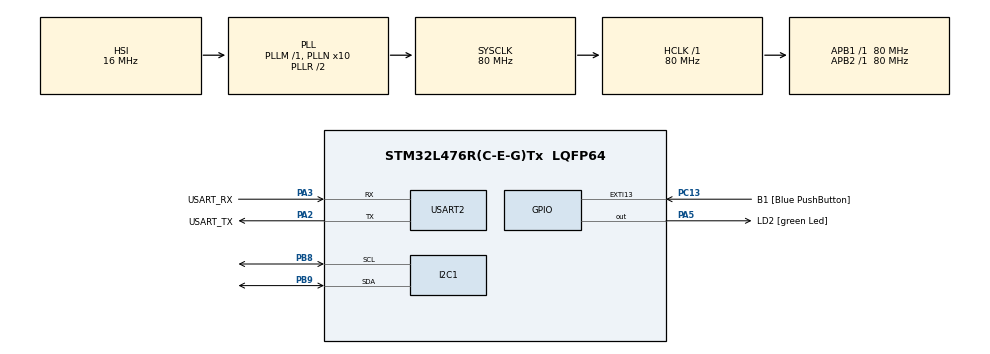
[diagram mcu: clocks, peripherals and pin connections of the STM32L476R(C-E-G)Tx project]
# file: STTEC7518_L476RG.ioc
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I2C1.Timing=0x10909CEC
Mcu.Family=STM32L4
Mcu.Name=STM32L476R(C-E-G)Tx
Mcu.Package=LQFP64
NVIC.PriorityGroup=NVIC_PRIORITYGROUP_4
PA13\ (JTMS-SWDIO).GPIO_Label=TMS
PA13\ (JTMS-SWDIO).Mode=Serial_Wire
PA13\ (JTMS-SWDIO).Signal=SYS_JTMS-SWDIO
PA14\ (JTCK-SWCLK).GPIO_Label=TCK
PA14\ (JTCK-SWCLK).Mode=Serial_Wire
PA14\ (JTCK-SWCLK).Signal=SYS_JTCK-SWCLK
PA2.GPIO_Label=USART_TX
PA2.GPIO_Mode=GPIO_MODE_AF_PP
PA2.GPIO_PuPd=GPIO_NOPULL
PA2.GPIO_Speed=GPIO_SPEED_FREQ_VERY_HIGH
PA2.Mode=Asynchronous
PA2.Signal=USART2_TX
PA3.GPIO_Label=USART_RX
PA3.GPIO_Mode=GPIO_MODE_AF_PP
PA3.GPIO_PuPd=GPIO_NOPULL
PA3.GPIO_Speed=GPIO_SPEED_FREQ_VERY_HIGH
PA3.Mode=Asynchronous
PA3.Signal=USART2_RX
PA5.GPIO_Label=LD2 [green Led]
PA5.GPIO_ModeDefaultOutputPP=GPIO_MODE_OUTPUT_PP
PA5.GPIO_PuPd=GPIO_NOPULL
PA5.GPIO_Speed=GPIO_SPEED_FREQ_LOW
PA5.Signal=GPIO_Output
PB3\ (JTDO-TRACESWO).GPIO_Label=SWO
PB3\ (JTDO-TRACESWO).Signal=SYS_JTDO-SWO
PB8.Mode=I2C
PB8.Signal=I2C1_SCL
PB9.Mode=I2C
PB9.Signal=I2C1_SDA
PC13.GPIO_Label=B1 [Blue PushButton]
PC13.GPIO_ModeDefaultEXTI=GPIO_MODE_IT_FALLING
PC13.GPIO_PuPd=GPIO_NOPULL
PC13.Signal=GPXTI13
PC14-OSC32_IN\ (PC14).Mode=LSE-External-Oscillator
PC14-OSC32_IN\ (PC14).Signal=RCC_OSC32_IN
PC15-OSC32_OUT\ (PC15).Mode=LSE-External-Oscillator
PC15-OSC32_OUT\ (PC15).Signal=RCC_OSC32_OUT
PH0-OSC_IN\ (PH0).Signal=RCC_OSC_IN
PH1-OSC_OUT\ (PH1).Signal=RCC_OSC_OUT
ProjectManager.HeapSize=0x200
ProjectManager.StackSize=0x400
ProjectManager.TargetToolchain=STM32CubeIDE
RCC.ADCFreq_Value=64000000
RCC.AHBFreq_Value=80000000
RCC.APB1Freq_Value=80000000
RCC.APB1TimFreq_Value=80000000
RCC.APB2Freq_Value=80000000
RCC.APB2TimFreq_Value=80000000
RCC.CortexFreq_Value=80000000
RCC.HCLKFreq_Value=80000000
RCC.HSE_VALUE=8000000
RCC.HSI_VALUE=16000000
RCC.MSI_VALUE=4000000
RCC.PLLN=10
RCC.PLLSourceVirtual=RCC_PLLSOURCE_HSI
RCC.PREFETCH_ENABLE=1
RCC.SYSCLKFreq_VALUE=80000000
RCC.SYSCLKSource=RCC_SYSCLKSOURCE_PLLCLK
RCC.USBFreq_Value=64000000
RCC.VCOOutputFreq_Value=160000000
USART2.VirtualMode-Asynchronous=VM_ASYNC
board=NUCLEO-L476RG

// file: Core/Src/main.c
/* USER CODE BEGIN Header */
/**
  ******************************************************************************
  * @file           : main.c
  * @brief          : Main program body
  ******************************************************************************
  * @attention
  *
  * Copyright (c) 2024 STMicroelectronics.
  * All rights reserved.
  *
  * This software is licensed under terms that can be found in the LICENSE file
  * in the root directory of this software component.
  * If no LICENSE file comes with this software, it is provided AS-IS.
  *
  ******************************************************************************
  */
/* USER CODE END Header */
#include "main.h"
#include "i2c.h"
#include "usart.h"
#include "gpio.h"

/* USER CODE BEGIN Includes */
#include <string.h>
#include <stdio.h>
#include "stts751_reg.h"

/* USER CODE END Includes */

/* USER CODE BEGIN PV */
static int16_t data_raw_temperature;
static float temperature_degC;
static stts751_id_t whoamI;
static uint8_t tx_buffer[1000];
/* USER CODE END PV */

void SystemClock_Config(void);
/* USER CODE BEGIN PFP */
static int32_t platform_write(void *handle, uint8_t reg, const uint8_t *bufp,
                              uint16_t len);
static int32_t platform_read(void *handle, uint8_t reg, uint8_t *bufp,
                             uint16_t len);
#ifdef __GNUC__
#define PUTCHAR_PROTOTYPE int __io_putchar(int ch)
#else
#define PUTCHAR_PROTOTYPE int fputc(int ch, FILE *f)
#endif /* __GNUC__ */

/* USER CODE END PFP */

int main(void)
{
  /* USER CODE BEGIN 1 */
	 /* Initialize mems driver interface */
	  stmdev_ctx_t dev_ctx;
	  dev_ctx.write_reg = platform_write;
	  dev_ctx.read_reg = platform_read;
	  dev_ctx.mdelay = HAL_Delay;
	  dev_ctx.handle = &hi2c1;
	  /* Initialize platform specific hardware */
  /* USER CODE END 1 */

  /* MCU Configuration--------------------------------------------------------*/

  /* Reset of all peripherals, Initializes the Flash interface and the Systick. */
  HAL_Init();

  /* Configure the system clock */
  SystemClock_Config();

  /* Initialize all configured peripherals */
  MX_GPIO_Init();
  MX_I2C1_Init();
  MX_USART2_UART_Init();
  /* USER CODE BEGIN 2 */
  /* Check device ID */
    stts751_device_id_get(&dev_ctx, &whoamI);
         if ( (whoamI.product_id != STTS751_ID_1xxxx) ||
              //(whoamI.product_id != STTS751_ID_1xxxx) ||
              (whoamI.manufacturer_id != STTS751_ID_MAN) ||
              (whoamI.revision_id != STTS751_REV) )
           while (1); /* manage here device not found */

         /* Enable interrupt on high(=49.5 degC)/low(=-4.5 degC) temperature. */
         float temperature_high_limit = 49.5f;
         stts751_high_temperature_threshold_set(&dev_ctx,
                                                stts751_from_celsius_to_lsb(temperature_high_limit));
         float temperature_low_limit = -4.5f;
         stts751_low_temperature_threshold_set(&dev_ctx,
                                               stts751_from_celsius_to_lsb(temperature_low_limit));
         stts751_pin_event_route_set(&dev_ctx,  PROPERTY_ENABLE);
         /* Set Output Data Rate */
         stts751_temp_data_rate_set(&dev_ctx, STTS751_TEMP_ODR_1Hz);
         /* Set Resolution */
         stts751_resolution_set(&dev_ctx, STTS751_11bit);

  /* USER CODE END 2 */

  /* Infinite loop */
  while (1)
  {
	  /* Read samples in polling mode */

	         /* Read output only if not busy */
	         uint8_t flag;
	         stts751_flag_busy_get(&dev_ctx, &flag);

	         if (flag) {
	           /* Read temperature data */
	           memset(&data_raw_temperature, 0, sizeof(int16_t));
	           stts751_temperature_raw_get(&dev_ctx, &data_raw_temperature);
	           temperature_degC = stts751_from_lsb_to_celsius(
	                                data_raw_temperature);
	           sprintf((char *)tx_buffer, "Temperature [degC]:%3.2f\r\n",
	                   temperature_degC);
	           //printf("%s",tx_buffer);
	           HAL_UART_Transmit(&huart2, tx_buffer, strlen((char const *)tx_buffer), 1000);
	         }

  }
}

void SystemClock_Config(void)
{
  RCC_OscInitTypeDef RCC_OscInitStruct = {0};
  RCC_ClkInitTypeDef RCC_ClkInitStruct = {0};

  /** Configure the main internal regulator output voltage
  */
  if (HAL_PWREx_ControlVoltageScaling(PWR_REGULATOR_VOLTAGE_SCALE1) != HAL_OK)
  {
    Error_Handler();
  }

  /** Initializes the RCC Oscillators according to the specified parameters
  * in the RCC_OscInitTypeDef structure.
  */
  RCC_OscInitStruct.OscillatorType = RCC_OSCILLATORTYPE_HSI;
  RCC_OscInitStruct.HSIState = RCC_HSI_ON;
  RCC_OscInitStruct.HSICalibrationValue = RCC_HSICALIBRATION_DEFAULT;
  RCC_OscInitStruct.PLL.PLLState = RCC_PLL_ON;
  RCC_OscInitStruct.PLL.PLLSource = RCC_PLLSOURCE_HSI;
  RCC_OscInitStruct.PLL.PLLM = 1;
  RCC_OscInitStruct.PLL.PLLN = 10;
  RCC_OscInitStruct.PLL.PLLP = RCC_PLLP_DIV7;
  RCC_OscInitStruct.PLL.PLLQ = RCC_PLLQ_DIV2;
  RCC_OscInitStruct.PLL.PLLR = RCC_PLLR_DIV2;
  if (HAL_RCC_OscConfig(&RCC_OscInitStruct) != HAL_OK)
  {
    Error_Handler();
  }

  /** Initializes the CPU, AHB and APB buses clocks
  */
  RCC_ClkInitStruct.ClockType = RCC_CLOCKTYPE_HCLK|RCC_CLOCKTYPE_SYSCLK
                              |RCC_CLOCKTYPE_PCLK1|RCC_CLOCKTYPE_PCLK2;
  RCC_ClkInitStruct.SYSCLKSource = RCC_SYSCLKSOURCE_PLLCLK;
  RCC_ClkInitStruct.AHBCLKDivider = RCC_SYSCLK_DIV1;
  RCC_ClkInitStruct.APB1CLKDivider = RCC_HCLK_DIV1;
  RCC_ClkInitStruct.APB2CLKDivider = RCC_HCLK_DIV1;

  if (HAL_RCC_ClockConfig(&RCC_ClkInitStruct, FLASH_LATENCY_4) != HAL_OK)
  {
    Error_Handler();
  }
}

/* USER CODE BEGIN 4 */

static int32_t platform_write(void *handle, uint8_t reg, const uint8_t *bufp,
                              uint16_t len)
{
  HAL_I2C_Mem_Write(handle, STTS751_0xxxx_ADD_7K5, reg,
                    I2C_MEMADD_SIZE_8BIT, (uint8_t*) bufp, len, 1000);
  return 0;
}

static int32_t platform_read(void *handle, uint8_t reg, uint8_t *bufp,
                             uint16_t len)
{

  HAL_I2C_Mem_Read(handle, STTS751_0xxxx_ADD_7K5, reg,
                   I2C_MEMADD_SIZE_8BIT, bufp, len, 1000);
  return 0;
}

PUTCHAR_PROTOTYPE
{
/* Place your implementation of fputc here */
/* e.g. write a character to the USART2 and Loop until the end
of transmission */
HAL_UART_Transmit(&huart2, (uint8_t *)&ch, 1, 100);
return ch;
}

/* USER CODE END 4 */

void Error_Handler(void)
{
  __disable_irq();
  while (1)
  {
  }
}
